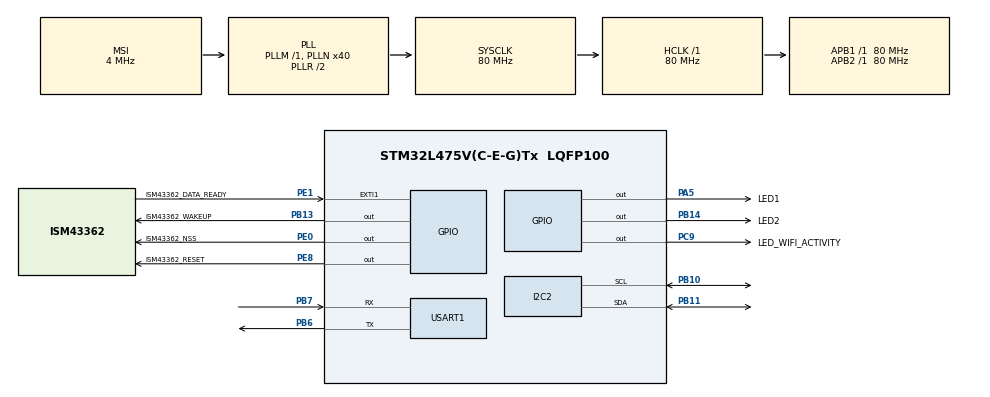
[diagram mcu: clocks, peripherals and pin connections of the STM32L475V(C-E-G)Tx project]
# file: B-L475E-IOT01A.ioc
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I2C2.Timing=0x10909CEC
Mcu.Family=STM32L4
Mcu.Name=STM32L475V(C-E-G)Tx
Mcu.Package=LQFP100
NVIC.EXTI1_IRQn=true\:0\:0\:false\:false\:true\:true\:true
NVIC.PriorityGroup=NVIC_PRIORITYGROUP_4
PA5.GPIO_Label=LED1
PA5.Signal=GPIO_Output
PB10.Mode=I2C
PB10.Signal=I2C2_SCL
PB11.Mode=I2C
PB11.Signal=I2C2_SDA
PB13.GPIO_Label=ISM43362_WAKEUP
PB13.Signal=GPIO_Output
PB14.GPIO_Label=LED2
PB14.Signal=GPIO_Output
PB6.Mode=Asynchronous
PB6.Signal=USART1_TX
PB7.Mode=Asynchronous
PB7.Signal=USART1_RX
PC9.GPIO_Label=LED_WIFI_ACTIVITY
PC9.Signal=GPIO_Output
PE0.GPIO_Label=ISM43362_NSS
PE0.PinState=GPIO_PIN_SET
PE0.Signal=GPIO_Output
PE1.GPIO_Label=ISM43362_DATA_READY
PE1.Signal=GPXTI1
PE8.GPIO_Label=ISM43362_RESET
PE8.PinState=GPIO_PIN_SET
PE8.Signal=GPIO_Output
ProjectManager.HeapSize=0x200
ProjectManager.StackSize=0x400
ProjectManager.TargetToolchain=EWARM V8.32
RCC.ADCFreq_Value=48000000
RCC.AHBFreq_Value=80000000
RCC.APB1Freq_Value=80000000
RCC.APB1TimFreq_Value=80000000
RCC.APB2Freq_Value=80000000
RCC.APB2TimFreq_Value=80000000
RCC.CortexFreq_Value=80000000
RCC.HCLKFreq_Value=80000000
RCC.HSE_VALUE=8000000
RCC.HSI_VALUE=16000000
RCC.LSE_VALUE=32768
RCC.MSI_VALUE=4000000
RCC.PLLN=40
RCC.PLLSAI1N=24
RCC.SYSCLKFreq_VALUE=80000000
RCC.SYSCLKSource=RCC_SYSCLKSOURCE_PLLCLK
RCC.USBFreq_Value=48000000
RCC.VCOOutputFreq_Value=160000000
STMicroelectronics.I-CUBE-STDIO.1.4.1.STDIOCcCompilerJjIOoOJjSTDOUT=USART
STMicroelectronics.X-CUBE-COMPONENTS.1.4.1.HTS221_I2C_HANDLER=hi2c2
STMicroelectronics.X-CUBE-COMPONENTS.1.4.1.LIS3MDL_I2C_HANDLER=hi2c2
STMicroelectronics.X-CUBE-COMPONENTS.1.4.1.LPS22HB_I2C_HANDLER=hi2c2
STMicroelectronics.X-CUBE-COMPONENTS.1.4.1.LSM6DSL_I2C_ADDRESS=0xD4
STMicroelectronics.X-CUBE-COMPONENTS.1.4.1.LSM6DSL_I2C_HANDLER=hi2c2
STMicroelectronics.X-CUBE-COMPONENTS.1.4.1.SensorsCcMotionJjBARJjLPS22HB=I2C
USART1.VirtualMode-Asynchronous=VM_ASYNC
VP_STMicroelectronics.I-CUBE-STDIO_VS_CompilerJjSTDIO_1.0.0.Mode=CompilerJjSTDIO
VP_STMicroelectronics.X-CUBE-COMPONENTS_VS_MotionJjSensors_1.0.0_1.4.1.Mode=MotionJjSensors
board=custom

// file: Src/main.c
/* USER CODE BEGIN Header */
/**
  ******************************************************************************
  * @file           : main.c
  * @brief          : Main program body
  ******************************************************************************
  * @attention
  *
  * <h2><center>&copy; Copyright (c) 2020 STMicroelectronics.
  * All rights reserved.</center></h2>
  *
  * This software component is licensed by ST under Ultimate Liberty license
  * SLA0044, the "License"; You may not use this file except in compliance with
  * the License. You may obtain a copy of the License at:
  *                             www.st.com/SLA0044
  *
  ******************************************************************************
  */
/* USER CODE END Header */
#include "main.h"

/* USER CODE BEGIN Includes */
#include <stdio.h>
#include "lps22hb.h"
/* USER CODE END Includes */

I2C_HandleTypeDef hi2c2;

UART_HandleTypeDef huart1;

/* USER CODE BEGIN PV */
/****************************** LPS22 ****************************************/
LPS22HB_Object_t  LPS22HB_Obj;
uint8_t PRESS_Id;
/* USER CODE END PV */

void SystemClock_Config(void);
static void MX_GPIO_Init(void);
static void MX_USART1_UART_Init(void);
static void MX_I2C2_Init(void);
/* USER CODE BEGIN PFP */
int App_Init(void);
int App_Run(void);
/* USER CODE END PFP */

int main(void)
{

  /* MCU Configuration--------------------------------------------------------*/

  /* Reset of all peripherals, Initializes the Flash interface and the Systick. */
  HAL_Init();

  /* Configure the system clock */
  SystemClock_Config();

  /* Initialize all configured peripherals */
  MX_GPIO_Init();
  MX_USART1_UART_Init();
  MX_I2C2_Init();
  /* USER CODE BEGIN 2 */

  App_Init();
  /* USER CODE END 2 */

  /* Infinite loop */
  /* USER CODE BEGIN WHILE */
  while (1)
  {
    App_Run();
    /* USER CODE END WHILE */

  }
}

void SystemClock_Config(void)
{
  RCC_OscInitTypeDef RCC_OscInitStruct = {0};
  RCC_ClkInitTypeDef RCC_ClkInitStruct = {0};
  RCC_PeriphCLKInitTypeDef PeriphClkInit = {0};

  /** Initializes the RCC Oscillators according to the specified parameters
  * in the RCC_OscInitTypeDef structure.
  */
  RCC_OscInitStruct.OscillatorType = RCC_OSCILLATORTYPE_MSI;
  RCC_OscInitStruct.MSIState = RCC_MSI_ON;
  RCC_OscInitStruct.MSICalibrationValue = 0;
  RCC_OscInitStruct.MSIClockRange = RCC_MSIRANGE_6;
  RCC_OscInitStruct.PLL.PLLState = RCC_PLL_ON;
  RCC_OscInitStruct.PLL.PLLSource = RCC_PLLSOURCE_MSI;
  RCC_OscInitStruct.PLL.PLLM = 1;
  RCC_OscInitStruct.PLL.PLLN = 40;
  RCC_OscInitStruct.PLL.PLLP = RCC_PLLP_DIV7;
  RCC_OscInitStruct.PLL.PLLQ = RCC_PLLQ_DIV2;
  RCC_OscInitStruct.PLL.PLLR = RCC_PLLR_DIV2;
  if (HAL_RCC_OscConfig(&RCC_OscInitStruct) != HAL_OK)
  {
    Error_Handler();
  }
  /** Initializes the CPU, AHB and APB buses clocks
  */
  RCC_ClkInitStruct.ClockType = RCC_CLOCKTYPE_HCLK|RCC_CLOCKTYPE_SYSCLK
                              |RCC_CLOCKTYPE_PCLK1|RCC_CLOCKTYPE_PCLK2;
  RCC_ClkInitStruct.SYSCLKSource = RCC_SYSCLKSOURCE_PLLCLK;
  RCC_ClkInitStruct.AHBCLKDivider = RCC_SYSCLK_DIV1;
  RCC_ClkInitStruct.APB1CLKDivider = RCC_HCLK_DIV1;
  RCC_ClkInitStruct.APB2CLKDivider = RCC_HCLK_DIV1;

  if (HAL_RCC_ClockConfig(&RCC_ClkInitStruct, FLASH_LATENCY_4) != HAL_OK)
  {
    Error_Handler();
  }
  PeriphClkInit.PeriphClockSelection = RCC_PERIPHCLK_USART1|RCC_PERIPHCLK_I2C2;
  PeriphClkInit.Usart1ClockSelection = RCC_USART1CLKSOURCE_PCLK2;
  PeriphClkInit.I2c2ClockSelection = RCC_I2C2CLKSOURCE_PCLK1;
  if (HAL_RCCEx_PeriphCLKConfig(&PeriphClkInit) != HAL_OK)
  {
    Error_Handler();
  }
  /** Configure the main internal regulator output voltage
  */
  if (HAL_PWREx_ControlVoltageScaling(PWR_REGULATOR_VOLTAGE_SCALE1) != HAL_OK)
  {
    Error_Handler();
  }
}

static void MX_I2C2_Init(void)
{

  hi2c2.Instance = I2C2;
  hi2c2.Init.Timing = 0x10909CEC;
  hi2c2.Init.OwnAddress1 = 0;
  hi2c2.Init.AddressingMode = I2C_ADDRESSINGMODE_7BIT;
  hi2c2.Init.DualAddressMode = I2C_DUALADDRESS_DISABLE;
  hi2c2.Init.OwnAddress2 = 0;
  hi2c2.Init.OwnAddress2Masks = I2C_OA2_NOMASK;
  hi2c2.Init.GeneralCallMode = I2C_GENERALCALL_DISABLE;
  hi2c2.Init.NoStretchMode = I2C_NOSTRETCH_DISABLE;
  if (HAL_I2C_Init(&hi2c2) != HAL_OK)
  {
    Error_Handler();
  }
  /** Configure Analogue filter
  */
  if (HAL_I2CEx_ConfigAnalogFilter(&hi2c2, I2C_ANALOGFILTER_ENABLE) != HAL_OK)
  {
    Error_Handler();
  }
  /** Configure Digital filter
  */
  if (HAL_I2CEx_ConfigDigitalFilter(&hi2c2, 0) != HAL_OK)
  {
    Error_Handler();
  }

}

static void MX_USART1_UART_Init(void)
{

  huart1.Instance = USART1;
  huart1.Init.BaudRate = 115200;
  huart1.Init.WordLength = UART_WORDLENGTH_8B;
  huart1.Init.StopBits = UART_STOPBITS_1;
  huart1.Init.Parity = UART_PARITY_NONE;
  huart1.Init.Mode = UART_MODE_TX_RX;
  huart1.Init.HwFlowCtl = UART_HWCONTROL_NONE;
  huart1.Init.OverSampling = UART_OVERSAMPLING_16;
  huart1.Init.OneBitSampling = UART_ONE_BIT_SAMPLE_DISABLE;
  huart1.AdvancedInit.AdvFeatureInit = UART_ADVFEATURE_NO_INIT;
  if (HAL_UART_Init(&huart1) != HAL_OK)
  {
    Error_Handler();
  }

}

static void MX_GPIO_Init(void)
{
  GPIO_InitTypeDef GPIO_InitStruct = {0};

  /* GPIO Ports Clock Enable */
  __HAL_RCC_GPIOA_CLK_ENABLE();
  __HAL_RCC_GPIOE_CLK_ENABLE();
  __HAL_RCC_GPIOB_CLK_ENABLE();
  __HAL_RCC_GPIOC_CLK_ENABLE();

  /*Configure GPIO pin Output Level */
  HAL_GPIO_WritePin(LED1_GPIO_Port, LED1_Pin, GPIO_PIN_RESET);

  /*Configure GPIO pin Output Level */
  HAL_GPIO_WritePin(GPIOE, ISM43362_RESET_Pin|ISM43362_NSS_Pin, GPIO_PIN_SET);

  /*Configure GPIO pin Output Level */
  HAL_GPIO_WritePin(GPIOB, ISM43362_WAKEUP_Pin|LED2_Pin, GPIO_PIN_RESET);

  /*Configure GPIO pin Output Level */
  HAL_GPIO_WritePin(LED_WIFI_ACTIVITY_GPIO_Port, LED_WIFI_ACTIVITY_Pin, GPIO_PIN_RESET);

  /*Configure GPIO pin : LED1_Pin */
  GPIO_InitStruct.Pin = LED1_Pin;
  GPIO_InitStruct.Mode = GPIO_MODE_OUTPUT_PP;
  GPIO_InitStruct.Pull = GPIO_NOPULL;
  GPIO_InitStruct.Speed = GPIO_SPEED_FREQ_LOW;
  HAL_GPIO_Init(LED1_GPIO_Port, &GPIO_InitStruct);

  /*Configure GPIO pins : ISM43362_RESET_Pin ISM43362_NSS_Pin */
  GPIO_InitStruct.Pin = ISM43362_RESET_Pin|ISM43362_NSS_Pin;
  GPIO_InitStruct.Mode = GPIO_MODE_OUTPUT_PP;
  GPIO_InitStruct.Pull = GPIO_NOPULL;
  GPIO_InitStruct.Speed = GPIO_SPEED_FREQ_LOW;
  HAL_GPIO_Init(GPIOE, &GPIO_InitStruct);

  /*Configure GPIO pins : ISM43362_WAKEUP_Pin LED2_Pin */
  GPIO_InitStruct.Pin = ISM43362_WAKEUP_Pin|LED2_Pin;
  GPIO_InitStruct.Mode = GPIO_MODE_OUTPUT_PP;
  GPIO_InitStruct.Pull = GPIO_NOPULL;
  GPIO_InitStruct.Speed = GPIO_SPEED_FREQ_LOW;
  HAL_GPIO_Init(GPIOB, &GPIO_InitStruct);

  /*Configure GPIO pin : LED_WIFI_ACTIVITY_Pin */
  GPIO_InitStruct.Pin = LED_WIFI_ACTIVITY_Pin;
  GPIO_InitStruct.Mode = GPIO_MODE_OUTPUT_PP;
  GPIO_InitStruct.Pull = GPIO_NOPULL;
  GPIO_InitStruct.Speed = GPIO_SPEED_FREQ_LOW;
  HAL_GPIO_Init(LED_WIFI_ACTIVITY_GPIO_Port, &GPIO_InitStruct);

  /*Configure GPIO pin : ISM43362_DATA_READY_Pin */
  GPIO_InitStruct.Pin = ISM43362_DATA_READY_Pin;
  GPIO_InitStruct.Mode = GPIO_MODE_IT_RISING;
  GPIO_InitStruct.Pull = GPIO_NOPULL;
  HAL_GPIO_Init(ISM43362_DATA_READY_GPIO_Port, &GPIO_InitStruct);

  /* EXTI interrupt init*/
  HAL_NVIC_SetPriority(EXTI1_IRQn, 0, 0);
  HAL_NVIC_EnableIRQ(EXTI1_IRQn);

}

/* USER CODE BEGIN 4 */
/**
* @brief  Initialize the sensor
* @param  None
* @retval Init error
*/
int App_Init(void)
{
uint32_t err = 0;

  LPS22HB_Obj.IO.BusType       =  LPS22HB_I2C_BUS;
  LPS22HB_Obj.IO.Address       =  LPS22HB_I2C_ADDRESS;
  LPS22HB_Obj.IO.hi2c          = &LPS22HB_I2C_HANDLER;
  LPS22HB_Obj.is_initialized   = 0;
  LPS22HB_Obj.press_is_enabled = 0;
  LPS22HB_Obj.temp_is_enabled  = 0;

  err = LPS22HB_Init        (&LPS22HB_Obj);
  err = LPS22HB_ReadID      (&LPS22HB_Obj, &PRESS_Id);
  err = LPS22HB_PRESS_Enable(&LPS22HB_Obj);
  err = LPS22HB_TEMP_Enable (&LPS22HB_Obj);

  if(err) { printf("LPS22 error\r\n");}

  return err;
}

/**
* @brief  Read and display sensor data
* @param  None
* @retval Run error
*/
int App_Run(void)
{
  uint32_t err = 0;
  float          fPressure;

  err = LPS22HB_PRESS_GetPressure(&LPS22HB_Obj, &fPressure   );

  if(err)
  {
    printf("Error reading from sensor\r\n");
  }
  else
  {
    printf("Pressure: %d\r\n", (int)fPressure);
  }

  HAL_Delay(1000);

  return err;
}
/* USER CODE END 4 */

void Error_Handler(void)
{
}

/************************ (C) COPYRIGHT STMicroelectronics *****END OF FILE****/
